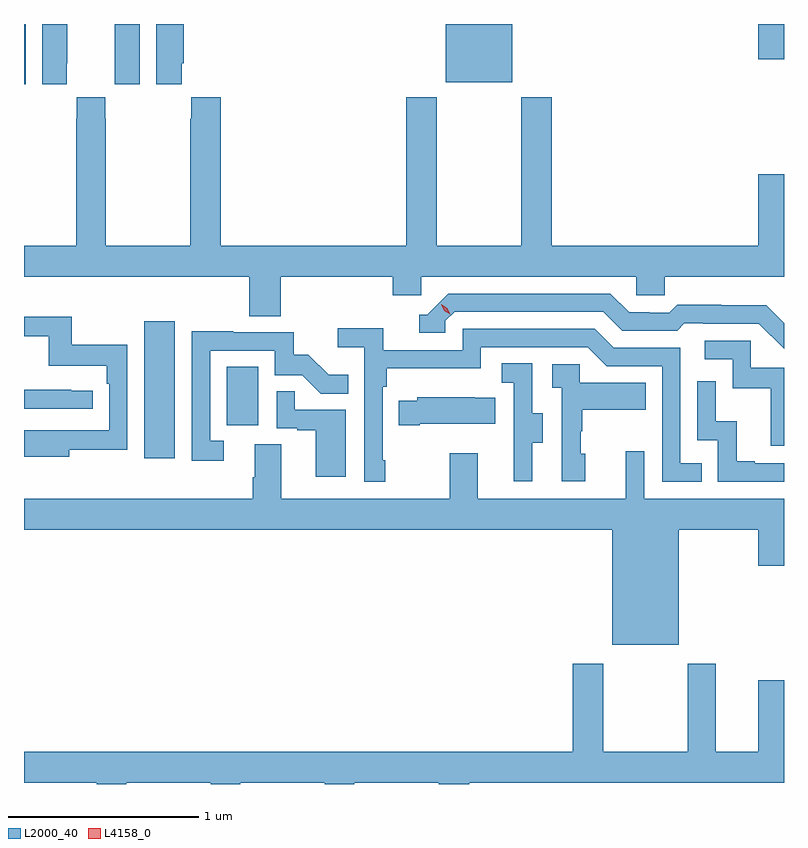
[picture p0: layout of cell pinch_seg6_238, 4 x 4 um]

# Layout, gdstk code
import gdstk
lib = gdstk.Library(unit=1e-6, precision=1e-09)
def R(c, l, rs):  # rectangles x0, y0, x1, y1
    for r in rs: c.add(gdstk.rectangle(r[:2], r[2:], *l))
def P(c, l, *ps):  # polygons
    for p in ps: c.add(gdstk.Polygon(p, *l))
L2000_40 = (2000, 40)
L4158_0 = (4158, 0)

pinch_seg6_238 = lib.new_cell('pinch_seg6_238')
R(pinch_seg6_238, L2000_40, [(1120.817,931.728,1120.978,932.449), (1121.252,931.902,1121.416,932.209), (1120.184,933.696,1120.192,934.014), (1122.404,933.707,1122.754,934.014), (1124.048,933.828,1124.184,934.014)])
P(pinch_seg6_238, L2000_40, [(1120.41,933.808),(1120.411,933.808),(1120.411,934.014),(1120.28,934.014),(1120.28,933.696),(1120.41,933.696)],
  [(1120.792,934.014),(1120.661,934.014),(1120.661,933.808),(1120.662,933.808),(1120.662,933.696),(1120.792,933.696)],
  [(1121.014,933.808),(1121.024,933.808),(1121.024,934.014),(1120.88,934.014),(1120.88,933.696),(1121.014,933.696)],
  [(1121.534,932.684),(1122.125,932.684),(1122.125,932.586),(1122.276,932.586),(1122.276,932.684),(1123.407,932.684),(1123.407,932.586),(1123.557,932.586),(1123.557,932.684),(1124.184,932.684),(1124.184,933.223),(1124.048,933.223),(1124.048,932.848),(1122.962,932.848),(1122.962,933.628),(1122.802,933.628),(1122.802,932.848),(1122.357,932.848),(1122.357,933.628),(1122.197,933.628),(1122.197,932.848),(1121.219,932.848),(1121.219,933.628),(1121.065,933.628),(1121.065,933.515),(1121.059,933.515),(1121.059,932.848),(1120.614,932.848),(1120.614,933.515),(1120.611,933.515),(1120.611,933.628),(1120.461,933.628),(1120.461,933.515),(1120.459,933.515),(1120.459,932.848),(1120.184,932.848),(1120.184,932.684),(1121.369,932.684),(1121.369,932.476),(1121.534,932.476)],
  [(1124.184,932.439),(1124.09,932.533),(1123.854,932.533),(1123.854,932.536),(1123.621,932.536),(1123.579,932.493),(1123.476,932.493),(1123.476,932.496),(1123.369,932.496),(1123.27,932.595),(1122.417,932.595),(1122.306,932.484),(1122.263,932.484),(1122.263,932.388),(1122.402,932.388),(1122.402,932.451),(1122.45,932.499),(1123.233,932.499),(1123.332,932.4),(1123.621,932.4),(1123.66,932.439),(1123.759,932.439),(1123.759,932.436),(1124.052,932.436),(1124.184,932.304)],
  [(1120.423,931.774),(1120.728,931.774),(1120.728,932.326),(1120.435,932.326),(1120.435,932.472),(1120.184,932.472),(1120.184,932.371),(1120.314,932.371),(1120.314,932.216),(1120.619,932.216),(1120.619,932.12),(1120.632,932.12),(1120.632,931.875),(1120.319,931.875),(1120.319,931.876),(1120.184,931.876),(1120.184,931.736),(1120.423,931.736)],
  [(1122.085,931.717),(1122.072,931.717),(1122.072,932.105),(1122.092,932.105),(1122.092,932.201),(1122.588,932.201),(1122.588,932.313),(1123.152,932.313),(1123.251,932.214),(1123.542,932.214),(1123.542,931.605),(1123.751,931.605),(1123.751,931.701),(1123.638,931.701),(1123.638,932.31),(1123.288,932.31),(1123.189,932.409),(1122.492,932.409),(1122.492,932.298),(1122.074,932.298),(1122.074,932.414),(1121.835,932.414),(1121.835,932.312),(1121.976,932.312),(1121.976,931.605),(1122.085,931.605)],
  [(1121.236,931.821),(1121.163,931.821),(1121.163,932.295),(1121.505,932.295),(1121.505,932.166),(1121.649,932.166),(1121.747,932.068),(1121.891,932.068),(1121.891,932.167),(1121.787,932.167),(1121.68,932.274),(1121.604,932.274),(1121.604,932.391),(1121.285,932.391),(1121.285,932.396),(1121.067,932.396),(1121.067,931.716),(1121.236,931.716)],
  [(1124.184,932.205),(1124.01,932.205),(1124.01,932.346),(1123.767,932.346),(1123.767,932.25),(1123.914,932.25),(1123.914,932.097),(1124.113,932.097),(1124.113,931.794),(1124.184,931.794)],
  [(1122.859,931.81),(1122.913,931.81),(1122.913,931.965),(1122.858,931.965),(1122.858,932.228),(1122.699,932.228),(1122.699,932.125),(1122.762,932.125),(1122.762,931.821),(1122.761,931.821),(1122.761,931.608),(1122.859,931.608)],
  [(1123.138,931.752),(1123.113,931.752),(1123.113,931.871),(1123.123,931.871),(1123.123,931.985),(1123.457,931.985),(1123.457,932.125),(1123.11,932.125),(1123.11,932.223),(1122.963,932.223),(1122.963,932.099),(1123.014,932.099),(1123.014,931.608),(1123.138,931.608)],
  [(1124.184,931.701),(1124.029,931.701),(1124.029,931.714),(1123.934,931.714),(1123.934,931.922),(1123.824,931.922),(1123.824,932.134),(1123.728,932.134),(1123.728,931.824),(1123.836,931.824),(1123.836,931.605),(1124.184,931.605)],
  [(1120.546,932.085),(1120.433,932.085),(1120.433,932.09),(1120.184,932.09),(1120.184,931.989),(1120.546,931.989)],
  [(1121.878,931.983),(1121.609,931.983),(1121.609,932.081),(1121.514,932.081),(1121.514,931.887),(1121.621,931.887),(1121.621,931.875),(1121.72,931.875),(1121.72,931.632),(1121.878,931.632)],
  [(1122.268,931.91),(1122.665,931.91),(1122.665,932.047),(1122.557,932.047),(1122.557,932.05),(1122.255,932.05),(1122.255,932.032),(1122.157,932.032),(1122.157,931.903),(1122.268,931.903)],
  [(1123.63,931.352),(1124.048,931.352),(1124.048,931.164),(1124.184,931.164),(1124.184,931.516),(1123.449,931.516),(1123.449,931.765),(1123.352,931.765),(1123.352,931.516),(1122.571,931.516),(1122.571,931.756),(1122.424,931.756),(1122.424,931.516),(1121.539,931.516),(1121.539,931.802),(1121.399,931.802),(1121.399,931.628),(1121.387,931.628),(1121.387,931.516),(1120.184,931.516),(1120.184,931.352),(1123.28,931.352),(1123.28,930.746),(1123.63,930.746)],
  [(1120.184,930.02),(1120.567,930.02),(1120.567,930.014),(1120.722,930.014),(1120.722,930.02),(1121.167,930.02),(1121.167,930.014),(1121.322,930.014),(1121.322,930.02),(1121.767,930.02),(1121.767,930.014),(1121.922,930.014),(1121.922,930.02),(1122.367,930.02),(1122.367,930.014),(1122.527,930.014),(1122.527,930.02),(1124.184,930.02),(1124.184,930.559),(1124.048,930.559),(1124.048,930.184),(1123.825,930.184),(1123.825,930.646),(1123.678,930.646),(1123.678,930.184),(1123.233,930.184),(1123.233,930.646),(1123.073,930.646),(1123.073,930.184),(1120.184,930.184)])
P(pinch_seg6_238, L4158_0, [(1122.427,932.487),(1122.396,932.506),(1122.38,932.538),(1122.38,932.538),(1122.38,932.538),(1122.411,932.519),(1122.427,932.487),(1122.427,932.487)])

lib.write_gds('pinch_seg6_238.gds')
